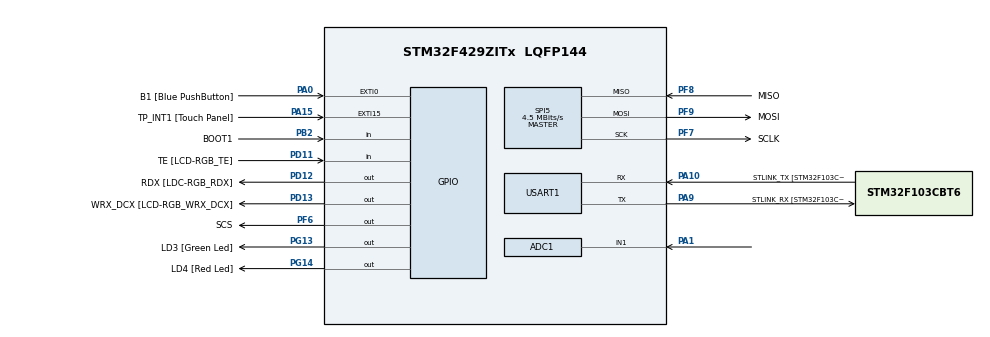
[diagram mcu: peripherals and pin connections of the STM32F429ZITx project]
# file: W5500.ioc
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ADC1.Channel-2\#ChannelRegularConversion=ADC_CHANNEL_1
ADC1.ClockPrescaler=ADC_CLOCK_SYNC_PCLK_DIV6
ADC1.ContinuousConvMode=ENABLE
ADC1.EOCSelection=ADC_EOC_SEQ_CONV
ADC1.NbrOfConversionFlag=1
ADC1.Rank-2\#ChannelRegularConversion=1
ADC1.SamplingTime-2\#ChannelRegularConversion=ADC_SAMPLETIME_3CYCLES
ADC1.master=1
Mcu.Family=STM32F4
Mcu.Name=STM32F429ZITx
Mcu.Package=LQFP144
NVIC.PriorityGroup=NVIC_PRIORITYGROUP_4
PA0/WKUP.GPIO_Label=B1 [Blue PushButton]
PA0/WKUP.GPIO_ModeDefaultEXTI=GPIO_MODE_EVT_RISING
PA0/WKUP.GPIO_PuPd=GPIO_NOPULL
PA0/WKUP.Signal=GPXTI0
PA1.Signal=ADCx_IN1
PA10.GPIO_Label=STLINK_TX [STM32F103CBT6_PA2]
PA10.Mode=Asynchronous
PA10.Signal=USART1_RX
PA13.GPIO_Label=SWDIO
PA13.Mode=Trace_Asynchronous_SW
PA13.Signal=SYS_JTMS-SWDIO
PA14.GPIO_Label=SWCLK
PA14.Mode=Trace_Asynchronous_SW
PA14.Signal=SYS_JTCK-SWCLK
PA15.GPIO_Label=TP_INT1 [Touch Panel]
PA15.GPIO_ModeDefaultEXTI=GPIO_MODE_EVT_RISING
PA15.GPIO_PuPd=GPIO_NOPULL
PA15.Signal=GPXTI15
PA9.GPIO_Label=STLINK_RX [STM32F103CBT6_PA3]
PA9.Mode=Asynchronous
PA9.Signal=USART1_TX
PB2/BOOT1.GPIO_Label=BOOT1
PB2/BOOT1.GPIO_Mode=GPIO_MODE_INPUT
PB2/BOOT1.GPIO_PuPd=GPIO_NOPULL
PB2/BOOT1.Signal=GPIO_Input
PB3.Mode=Trace_Asynchronous_SW
PB3.Signal=SYS_JTDO-SWO
PC14/OSC32_IN.GPIO_Label=PC14-OSC32_IN
PC14/OSC32_IN.Signal=RCC_OSC32_IN
PC15/OSC32_OUT.GPIO_Label=PC15-OSC32_OUT
PC15/OSC32_OUT.Signal=RCC_OSC32_OUT
PD11.GPIO_Label=TE [LCD-RGB_TE]
PD11.GPIO_Mode=GPIO_MODE_INPUT
PD11.GPIO_PuPd=GPIO_NOPULL
PD11.Signal=GPIO_Input
PD12.GPIO_Label=RDX [LDC-RGB_RDX]
PD12.GPIO_Mode=GPIO_MODE_OUTPUT_PP
PD12.GPIO_PuPd=GPIO_NOPULL
PD12.GPIO_Speed=GPIO_SPEED_FREQ_LOW
PD12.Signal=GPIO_Output
PD13.GPIO_Label=WRX_DCX [LCD-RGB_WRX_DCX]
PD13.GPIO_Mode=GPIO_MODE_OUTPUT_PP
PD13.GPIO_PuPd=GPIO_NOPULL
PD13.GPIO_Speed=GPIO_SPEED_FREQ_LOW
PD13.Signal=GPIO_Output
PF6.GPIO_Label=SCS
PF6.GPIO_Speed=GPIO_SPEED_FREQ_HIGH
PF6.Signal=GPIO_Output
PF7.GPIO_Label=SCLK 
PF7.GPIO_Mode=GPIO_MODE_AF_PP
PF7.GPIO_PuPd=GPIO_NOPULL
PF7.GPIO_Speed=GPIO_SPEED_FREQ_HIGH
PF7.Mode=Full_Duplex_Master
PF7.Signal=SPI5_SCK
PF8.GPIO_Label=MISO 
PF8.GPIO_Mode=GPIO_MODE_AF_PP
PF8.GPIO_PuPd=GPIO_NOPULL
PF8.GPIO_Speed=GPIO_SPEED_FREQ_HIGH
PF8.Mode=Full_Duplex_Master
PF8.Signal=SPI5_MISO
PF9.GPIO_Label=MOSI 
PF9.GPIO_Mode=GPIO_MODE_AF_PP
PF9.GPIO_PuPd=GPIO_NOPULL
PF9.GPIO_Speed=GPIO_SPEED_FREQ_HIGH
PF9.Mode=Full_Duplex_Master
PF9.Signal=SPI5_MOSI
PG13.GPIO_Label=LD3 [Green Led]
PG13.GPIO_Mode=GPIO_MODE_OUTPUT_PP
PG13.GPIO_PuPd=GPIO_NOPULL
PG13.GPIO_Speed=GPIO_SPEED_FREQ_LOW
PG13.Signal=GPIO_Output
PG14.GPIO_Label=LD4 [Red Led]
PG14.GPIO_Mode=GPIO_MODE_OUTPUT_PP
PG14.GPIO_PuPd=GPIO_NOPULL
PG14.GPIO_Speed=GPIO_SPEED_FREQ_LOW
PG14.Signal=GPIO_Output
PH0/OSC_IN.GPIO_Label=PH0-OSC_IN
PH0/OSC_IN.Mode=HSE-External-Oscillator
PH0/OSC_IN.Signal=RCC_OSC_IN
PH1/OSC_OUT.GPIO_Label=PH1-OSC_OUT
PH1/OSC_OUT.Mode=HSE-External-Oscillator
PH1/OSC_OUT.Signal=RCC_OSC_OUT
ProjectManager.HeapSize=0x200
ProjectManager.StackSize=0x400
ProjectManager.TargetToolchain=SW4STM32
RCC.48MHZClocksFreq_Value=48000000
RCC.AHBFreq_Value=72000000
RCC.APB1CLKDivider=RCC_HCLK_DIV2
RCC.APB1Freq_Value=36000000
RCC.APB1TimFreq_Value=72000000
RCC.APB2Freq_Value=72000000
RCC.APB2TimFreq_Value=72000000
RCC.CortexFreq_Value=72000000
RCC.HCLKFreq_Value=72000000
RCC.HSE_VALUE=8000000
RCC.HSI_VALUE=16000000
RCC.LSE_VALUE=32768
RCC.PLLM=4
RCC.PLLN=72
RCC.PLLQ=3
RCC.PLLSAIN=50
RCC.PLLSourceVirtual=RCC_PLLSOURCE_HSE
RCC.SYSCLKFreq_VALUE=72000000
RCC.SYSCLKSource=RCC_SYSCLKSOURCE_PLLCLK
RCC.VCOOutputFreq_Value=144000000
RTC.Date=26
RTC.Format=RTC_FORMAT_BIN
RTC.Hours=14
RTC.Minutes=15
RTC.Month=RTC_MONTH_MAY
RTC.SynchPrediv=249
RTC.WeekDay=RTC_WEEKDAY_WEDNESDAY
RTC.Year=21
SH.ADCx_IN1.0=ADC1_IN1,IN1
SPI5.BaudRatePrescaler=SPI_BAUDRATEPRESCALER_16
SPI5.CalculateBaudRate=4.5 MBits/s
SPI5.Direction=SPI_DIRECTION_2LINES
SPI5.Mode=SPI_MODE_MASTER
SPI5.VirtualType=VM_MASTER
USART1.VirtualMode=VM_ASYNC
VP_RTC_VS_RTC_Activate.Mode=RTC_Enabled
VP_RTC_VS_RTC_Calendar.Mode=RTC_Calendar
board=STM32F429I-DISC1

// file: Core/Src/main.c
/* USER CODE BEGIN Header */
/**
  ******************************************************************************
  * @file           : main.c
  * @brief          : Main program body
  ******************************************************************************
  * @attention
  *
  * <h2><center>&copy; Copyright (c) 2021 STMicroelectronics.
  * All rights reserved.</center></h2>
  *
  * This software component is licensed by ST under BSD 3-Clause license,
  * the "License"; You may not use this file except in compliance with the
  * License. You may obtain a copy of the License at:
  *                        opensource.org/licenses/BSD-3-Clause
  *
  ******************************************************************************
  */
/* USER CODE END Header */
#include "main.h"
#include "adc.h"
#include "rtc.h"
#include "spi.h"
#include "usart.h"
#include "gpio.h"

/* USER CODE BEGIN Includes */
#include <stdbool.h>
#include <string.h>
#include <stdarg.h>
#include <stdio.h>
#include "socket.h"
#include "dhcp.h"
#include "dns.h"
#include "sntp.h"
#include "w5500.h"
#include "mb.h"
#include "mbproto.h"
#include "mbutils.h"
/* USER CODE END Includes */

/* USER CODE BEGIN PD */
#define DHCP_SOCKET     0
#define SNTP_SOCKET      1
#define HTTP_SOCKET     0
#define MBTCP_PORT      502

#define REG_INPUT_START       0x0001
#define REG_INPUT_NREGS       8

#define REG_HOLDING_START     0x0001
#define REG_HOLDING_NREGS     8

#define REG_COILS_START       0x0001
#define REG_COILS_SIZE        16

#define REG_DISCRETE_START    0x0001
#define REG_DISCRETE_SIZE     16

/* USER CODE END PD */

/* USER CODE BEGIN PV */
uint8_t dhcp_buffer[1024];
uint8_t dns_buffer[200];
uint8_t ntp_buf[48];
volatile bool ip_assigned = false;

uint8_t ntp_domain_serv[] = "ntp5.stratum1.ru";
uint8_t ntp_ip_serv[4] = {0};
datetime ntp_time;
volatile bool time_assigned = false;

uint16_t usRegInputBuf[REG_INPUT_NREGS] = {0x1000,0x1001,0x1002,0x1003,0x1004,0x1005,0x1006,0x1007};
uint16_t usRegHoldingBuf[REG_HOLDING_NREGS] = {0x2000,0x2001,0x2002,0x2003,0x2004,0x2005,0x2006,0x2007};
uint8_t ucRegCoilsBuf[REG_COILS_SIZE/8] = {0xaa,0xfe};
uint8_t ucRegDiscreteBuf[REG_DISCRETE_SIZE/8] = {0x98, 0x6e};
/* USER CODE END PV */

void SystemClock_Config(void);
/* USER CODE BEGIN PFP */
void W5500_Select(void) {
    HAL_GPIO_WritePin(SCS_GPIO_Port, SCS_Pin, GPIO_PIN_RESET);
}
void W5500_Unselect(void) {
    HAL_GPIO_WritePin(SCS_GPIO_Port, SCS_Pin, GPIO_PIN_SET);
}
void W5500_ReadBuff(uint8_t* buff, uint16_t len) {
    HAL_SPI_Receive(&hspi5, buff, len, HAL_MAX_DELAY);
}
void W5500_WriteBuff(uint8_t* buff, uint16_t len) {
    HAL_SPI_Transmit(&hspi5, buff, len, HAL_MAX_DELAY);
}
uint8_t W5500_ReadByte(void) {
    uint8_t byte;
    W5500_ReadBuff(&byte, sizeof(byte));
    return byte;
}
void W5500_WriteByte(uint8_t byte) {
    W5500_WriteBuff(&byte, sizeof(byte));
}
void Callback_IPAssigned(void) {
    printf("Callback: IP assigned! Leased time: %d sec\r\n", getDHCPLeasetime());
    ip_assigned = true;
}
void Callback_IPConflict(void) {
    printf("Callback: IP conflict!\r\n");
}
void Callback_TimeAssigned(void) {
    printf("Callback: Time assigned! \r\n");
    time_assigned = true;
    printf("NTP Time: %d.%d.%d %d:%d:%d \r\n",ntp_time.dd, ntp_time.mm, ntp_time.yy, ntp_time.hh, ntp_time.mm,ntp_time.ss);
}

void init_w5500() {
  printf("\r\ninit() called!\r\n");

  printf("Registering W5500 callbacks...\r\n");
  reg_wizchip_cs_cbfunc(W5500_Select, W5500_Unselect);
  reg_wizchip_spi_cbfunc(W5500_ReadByte, W5500_WriteByte);
  reg_wizchip_spiburst_cbfunc(W5500_ReadBuff, W5500_WriteBuff);

  printf("Calling wizchip_init()...\r\n");
  uint8_t rx_tx_buff_sizes[] = {2, 2, 2, 2, 2, 2, 2, 2};
  wizchip_init(rx_tx_buff_sizes, rx_tx_buff_sizes);

  printf("Calling DHCP_init()...\r\n");
  wiz_NetInfo net_info = {
    .mac  = { 0xEA, 0x11, 0x22, 0x33, 0x44, 0xEA },
    .dhcp = NETINFO_DHCP
  };

  setSHAR(net_info.mac);

  DHCP_init(DHCP_SOCKET, dhcp_buffer);

  printf("Registering DHCP callbacks...\r\n");
  reg_dhcp_cbfunc(
    Callback_IPAssigned,
    Callback_IPAssigned,
    Callback_IPConflict
  );

  printf("Calling DHCP_run()...\r\n");
  uint32_t ctr = 1000000;
  while((!ip_assigned) && (ctr > 0)) {
    DHCP_run();
    ctr--;
  }
  if(!ip_assigned) {
    printf("\r\nIP was not assigned :(\r\n");
    return;
  }

  getIPfromDHCP(net_info.ip);
  getGWfromDHCP(net_info.gw);
  getSNfromDHCP(net_info.sn);

  uint8_t dns[4];
  getDNSfromDHCP(dns);

  printf("IP:  %d.%d.%d.%d\r\nGW:  %d.%d.%d.%d\r\nNet: %d.%d.%d.%d\r\n" "DNS: %d.%d.%d.%d\r\n",
    net_info.ip[0], net_info.ip[1], net_info.ip[2], net_info.ip[3],
    net_info.gw[0], net_info.gw[1], net_info.gw[2], net_info.gw[3],
    net_info.sn[0], net_info.sn[1], net_info.sn[2], net_info.sn[3],
    dns[0], dns[1], dns[2], dns[3]
  );

  printf("Calling wizchip_setnetinfo()...\r\n");
  wizchip_setnetinfo(&net_info);

  reg_ntp_cbfunc(
    Callback_TimeAssigned
  );

  printf("Calling translate Domain to IP...\r\n");
  DNS_init(SNTP_SOCKET, dns_buffer);
  if (DNS_run(dns, ntp_domain_serv, ntp_ip_serv) > 0) {
    printf("Translated %s to %d.%d.%d.%d\r\n", ntp_domain_serv, ntp_ip_serv[0], ntp_ip_serv[1], ntp_ip_serv[2], ntp_ip_serv[3]);
    SNTP_init(SNTP_SOCKET, ntp_ip_serv, 28, ntp_buf);
    uint32_t ctr_t = 100000;
    while ((!time_assigned) && (ctr_t > 0)) {
      SNTP_run(&ntp_time);
      ctr_t--;
    }
    if (!time_assigned) {
      printf("\r\nTime was not assigned :(\r\n");
      return;
    }
  }
  else {
    printf("Translated %s to IP failed\r\n", ntp_domain_serv);
    printf("SNTP don't start\r\n");
  }
}

/* USER CODE END PFP */

int main(void)
{
  /* USER CODE BEGIN 1 */
  eMBErrorCode eStatus;
  /* USER CODE END 1 */

  /* MCU Configuration--------------------------------------------------------*/

  /* Reset of all peripherals, Initializes the Flash interface and the Systick. */
  HAL_Init();

  /* Configure the system clock */
  SystemClock_Config();

  /* Initialize all configured peripherals */
  MX_GPIO_Init();
  MX_SPI5_Init();
  MX_USART1_UART_Init();
  MX_ADC1_Init();
  MX_RTC_Init();
  /* USER CODE BEGIN 2 */
  init_w5500();
  HAL_Delay(200);
  eMBTCPInit(MBTCP_PORT);
  HAL_Delay(200);
  eMBEnable();
  printf("\r\nModbus-TCP Start!\r\n");
  HAL_ADC_Start(&hadc1);
  /* USER CODE END 2 */

  /* Infinite loop */
  /* USER CODE BEGIN WHILE */
  while (1)
  {

    usRegHoldingBuf[5] = HAL_ADC_GetValue(&hadc1);
    modbus_tcps(HTTP_SOCKET, MBTCP_PORT);

    /* USER CODE END WHILE */

  }
}

void SystemClock_Config(void)
{
  LL_FLASH_SetLatency(LL_FLASH_LATENCY_2);
  while(LL_FLASH_GetLatency()!= LL_FLASH_LATENCY_2)
  {
  }
  LL_PWR_SetRegulVoltageScaling(LL_PWR_REGU_VOLTAGE_SCALE3);
  LL_PWR_DisableOverDriveMode();
  LL_RCC_HSE_Enable();

   /* Wait till HSE is ready */
  while(LL_RCC_HSE_IsReady() != 1)
  {

  }
  LL_RCC_LSI_Enable();

   /* Wait till LSI is ready */
  while(LL_RCC_LSI_IsReady() != 1)
  {

  }
  LL_PWR_EnableBkUpAccess();
  if(LL_RCC_GetRTCClockSource() != LL_RCC_RTC_CLKSOURCE_LSI)
  {
    LL_RCC_ForceBackupDomainReset();
    LL_RCC_ReleaseBackupDomainReset();
    LL_RCC_SetRTCClockSource(LL_RCC_RTC_CLKSOURCE_LSI);
  }
  LL_RCC_EnableRTC();
  LL_RCC_PLL_ConfigDomain_SYS(LL_RCC_PLLSOURCE_HSE, LL_RCC_PLLM_DIV_4, 72, LL_RCC_PLLP_DIV_2);
  LL_RCC_PLL_Enable();

   /* Wait till PLL is ready */
  while(LL_RCC_PLL_IsReady() != 1)
  {

  }
  LL_RCC_SetAHBPrescaler(LL_RCC_SYSCLK_DIV_1);
  LL_RCC_SetAPB1Prescaler(LL_RCC_APB1_DIV_2);
  LL_RCC_SetAPB2Prescaler(LL_RCC_APB2_DIV_1);
  LL_RCC_SetSysClkSource(LL_RCC_SYS_CLKSOURCE_PLL);

   /* Wait till System clock is ready */
  while(LL_RCC_GetSysClkSource() != LL_RCC_SYS_CLKSOURCE_STATUS_PLL)
  {

  }
  LL_SetSystemCoreClock(72000000);

   /* Update the time base */
  if (HAL_InitTick (TICK_INT_PRIORITY) != HAL_OK)
  {
    Error_Handler();
  }
  LL_RCC_SetTIMPrescaler(LL_RCC_TIM_PRESCALER_TWICE);
}

/* USER CODE BEGIN 4 */

eMBErrorCode
eMBRegHoldingCB(UCHAR *pucRegBuffer, USHORT usAddress, USHORT usNRegs,
                eMBRegisterMode eMode)
{
  eMBErrorCode eStatus = MB_ENOERR;
  int iRegIndex;

  if ((usAddress >= REG_HOLDING_START) &&
      (usAddress + usNRegs <= REG_HOLDING_START + REG_HOLDING_NREGS))
  {
    iRegIndex = (int)(usAddress - REG_HOLDING_START);
    switch (eMode)
    {
    /* Pass current register values to the protocol stack. */
    case MB_REG_READ:
      while (usNRegs > 0)
      {
        *pucRegBuffer++ =
            (unsigned char)(usRegHoldingBuf[iRegIndex] >> 8);
        *pucRegBuffer++ =
            (unsigned char)(usRegHoldingBuf[iRegIndex] & 0xFF);
        iRegIndex++;
        usNRegs--;
      }
      break;
    /* Update current register values with new values from the protocol stack. */
    case MB_REG_WRITE:
      while (usNRegs > 0)
      {
        usRegHoldingBuf[iRegIndex] = *pucRegBuffer++ << 8;
        usRegHoldingBuf[iRegIndex] |= *pucRegBuffer++;
        iRegIndex++;
        usNRegs--;
      }
    }
  }
  else
  {
    eStatus = MB_ENOREG;
  }
  return eStatus;
}

eMBErrorCode
eMBRegInputCB(UCHAR *pucRegBuffer, USHORT usAddress, USHORT usNRegs)
{
  eMBErrorCode eStatus = MB_ENOERR;
  int iRegIndex;

  if ((usAddress >= REG_INPUT_START) && (usAddress + usNRegs <= REG_INPUT_START + REG_INPUT_NREGS))
  {
    iRegIndex = (int)(usAddress - REG_INPUT_START);
    while (usNRegs > 0)
    {
      *pucRegBuffer++ =
          (unsigned char)(usRegInputBuf[iRegIndex] >> 8);
      *pucRegBuffer++ =
          (unsigned char)(usRegInputBuf[iRegIndex] & 0xFF);
      iRegIndex++;
      usNRegs--;
    }
  }
  else
  {
    eStatus = MB_ENOREG;
  }

  return eStatus;
}

eMBErrorCode
eMBRegCoilsCB(UCHAR *pucRegBuffer, USHORT usAddress, USHORT usNCoils,
              eMBRegisterMode eMode)
{
  eMBErrorCode eStatus = MB_ENOERR;
  int iNCoils = (int)usNCoils;
  unsigned short usBitOffset;

  /* Check if we have registers mapped at this block. */
  if ((usAddress >= REG_COILS_START) &&
      (usAddress + usNCoils <= REG_COILS_START + REG_COILS_SIZE))
  {
    usBitOffset = (unsigned short)(usAddress - REG_COILS_START);
    switch (eMode)
    {
    /* Read current values and pass to protocol stack. */
    case MB_REG_READ:
      while (iNCoils > 0)
      {
        *pucRegBuffer++ =
            xMBUtilGetBits(ucRegCoilsBuf, usBitOffset,
                           (unsigned char)(iNCoils >
                                                   8
                                               ? 8
                                               : iNCoils));
        iNCoils -= 8;
        usBitOffset += 8;
      }
      break;
      /* Update current register values. */
    case MB_REG_WRITE:
      while (iNCoils > 0)
      {
        xMBUtilSetBits(ucRegCoilsBuf, usBitOffset,
                       (unsigned char)(iNCoils > 8 ? 8 : iNCoils),
                       *pucRegBuffer++);
        iNCoils -= 8;
        usBitOffset += 8;
      }
      break;
    }
  }
  else
  {
    eStatus = MB_ENOREG;
  }
  return eStatus;
}

eMBErrorCode
eMBRegDiscreteCB(UCHAR *pucRegBuffer, USHORT usAddress, USHORT usNDiscrete)
{
  eMBErrorCode eStatus = MB_ENOERR;
  short iNDiscrete = (short)usNDiscrete;
  unsigned short usBitOffset;

  /* Check if we have registers mapped at this block. */
  if ((usAddress >= REG_DISCRETE_START) &&
      (usAddress + usNDiscrete <= REG_DISCRETE_START + REG_DISCRETE_SIZE))
  {
    usBitOffset = (unsigned short)(usAddress - REG_DISCRETE_START);
    while (iNDiscrete > 0)
    {
      *pucRegBuffer++ =
          xMBUtilGetBits( ucRegDiscreteBuf, usBitOffset,
                                    ( unsigned char )( iNDiscrete >
                                                       8 ? 8 : iNDiscrete ) );
      iNDiscrete -= 8;
      usBitOffset += 8;
    }
  }
  else
  {
    eStatus = MB_ENOREG;
  }
  return eStatus;
}

int __io_putchar(int ch) {
  ITM_SendChar(ch);
  return ch;
}
/* USER CODE END 4 */

void Error_Handler(void)
{
  __disable_irq();
  while (1)
  {
  }
}

/************************ (C) COPYRIGHT STMicroelectronics *****END OF FILE****/
